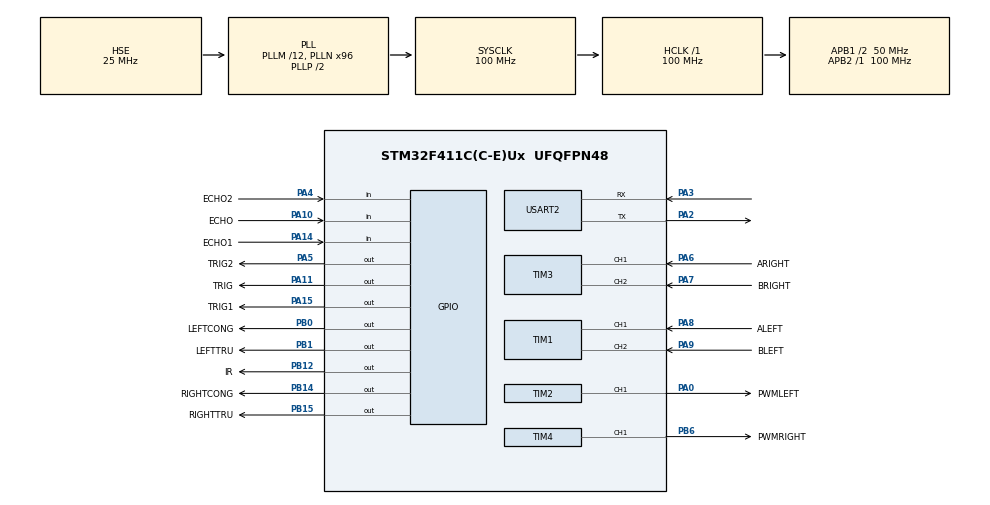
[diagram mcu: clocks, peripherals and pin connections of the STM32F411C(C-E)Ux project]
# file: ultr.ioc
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Dma.Request0=USART2_RX
Dma.USART2_RX.0.Direction=DMA_PERIPH_TO_MEMORY
Dma.USART2_RX.0.FIFOMode=DMA_FIFOMODE_DISABLE
Dma.USART2_RX.0.Instance=DMA1_Stream5
Dma.USART2_RX.0.MemDataAlignment=DMA_MDATAALIGN_BYTE
Dma.USART2_RX.0.MemInc=DMA_MINC_ENABLE
Dma.USART2_RX.0.Mode=DMA_NORMAL
Dma.USART2_RX.0.PeriphDataAlignment=DMA_PDATAALIGN_BYTE
Dma.USART2_RX.0.PeriphInc=DMA_PINC_DISABLE
Dma.USART2_RX.0.Priority=DMA_PRIORITY_LOW
Mcu.Family=STM32F4
Mcu.Name=STM32F411C(C-E)Ux
Mcu.Package=UFQFPN48
NVIC.DMA1_Stream5_IRQn=true\:0\:0\:false\:false\:true\:false\:true\:true
NVIC.PriorityGroup=NVIC_PRIORITYGROUP_4
NVIC.TIM5_IRQn=true\:0\:0\:false\:false\:true\:true\:true\:true
NVIC.USART2_IRQn=true\:0\:0\:false\:false\:true\:true\:true\:true
PA0-WKUP.GPIO_Label=PWMLEFT
PA0-WKUP.Signal=S_TIM2_CH1_ETR
PA10.GPIO_Label=ECHO
PA10.Signal=GPIO_Input
PA11.GPIO_Label=TRIG
PA11.Signal=GPIO_Output
PA14.GPIO_Label=ECHO1
PA14.Signal=GPIO_Input
PA15.GPIO_Label=TRIG1
PA15.Signal=GPIO_Output
PA2.Mode=Asynchronous
PA2.Signal=USART2_TX
PA3.Mode=Asynchronous
PA3.Signal=USART2_RX
PA4.GPIO_Label=ECHO2
PA4.Signal=GPIO_Input
PA5.GPIO_Label=TRIG2
PA5.Signal=GPIO_Output
PA6.GPIO_Label=ARIGHT
PA6.Signal=S_TIM3_CH1
PA7.GPIO_Label=BRIGHT
PA7.Signal=S_TIM3_CH2
PA8.GPIO_Label=ALEFT
PA8.Signal=S_TIM1_CH1
PA9.GPIO_Label=BLEFT
PA9.Signal=S_TIM1_CH2
PB0.GPIO_Label=LEFTCONG
PB0.Signal=GPIO_Output
PB1.GPIO_Label=LEFTTRU
PB1.Signal=GPIO_Output
PB12.GPIO_Label=IR
PB12.Signal=GPIO_Output
PB14.GPIO_Label=RIGHTCONG
PB14.Signal=GPIO_Output
PB15.GPIO_Label=RIGHTTRU
PB15.Signal=GPIO_Output
PB6.GPIO_Label=PWMRIGHT
PB6.Signal=S_TIM4_CH1
PH0\ -\ OSC_IN.Mode=HSE-External-Oscillator
PH0\ -\ OSC_IN.Signal=RCC_OSC_IN
PH1\ -\ OSC_OUT.Mode=HSE-External-Oscillator
PH1\ -\ OSC_OUT.Signal=RCC_OSC_OUT
ProjectManager.HeapSize=0x200
ProjectManager.StackSize=0x400
ProjectManager.TargetToolchain=STM32CubeIDE
RCC.48MHZClocksFreq_Value=50000000
RCC.AHBFreq_Value=100000000
RCC.APB1CLKDivider=RCC_HCLK_DIV2
RCC.APB1Freq_Value=50000000
RCC.APB1TimFreq_Value=100000000
RCC.APB2Freq_Value=100000000
RCC.APB2TimFreq_Value=100000000
RCC.CortexFreq_Value=100000000
RCC.HCLKFreq_Value=100000000
RCC.HSE_VALUE=25000000
RCC.HSI_VALUE=16000000
RCC.LSE_VALUE=32768
RCC.PLLM=12
RCC.PLLN=96
RCC.PLLSourceVirtual=RCC_PLLSOURCE_HSE
RCC.SYSCLKFreq_VALUE=100000000
RCC.SYSCLKSource=RCC_SYSCLKSOURCE_PLLCLK
RCC.VCOOutputFreq_Value=200000000
SH.S_TIM1_CH1.0=TIM1_CH1,Encoder_Interface
SH.S_TIM1_CH2.0=TIM1_CH2,Encoder_Interface
SH.S_TIM2_CH1_ETR.0=TIM2_CH1,PWM Generation1 CH1
SH.S_TIM3_CH1.0=TIM3_CH1,Encoder_Interface
SH.S_TIM3_CH2.0=TIM3_CH2,Encoder_Interface
SH.S_TIM4_CH1.0=TIM4_CH1,PWM Generation1 CH1
TIM1.EncoderMode=TIM_ENCODERMODE_TI12
TIM2.Channel-PWM\ Generation1\ CH1=TIM_CHANNEL_1
TIM2.Period=999
TIM2.Prescaler=2000-1
TIM3.EncoderMode=TIM_ENCODERMODE_TI12
TIM4.Channel-PWM\ Generation1\ CH1=TIM_CHANNEL_1
TIM4.Period=999
TIM4.Prescaler=2000-1
TIM5.Period=1000-1
TIM5.Prescaler=1000-1
TIM9.Period=0
TIM9.Prescaler=100-1
USART2.VirtualMode=VM_ASYNC
VP_TIM2_VS_ClockSourceINT.Mode=Internal
VP_TIM4_VS_ClockSourceINT.Mode=Internal
VP_TIM5_VS_ClockSourceINT.Mode=Internal
VP_TIM9_VS_ClockSourceINT.Mode=Internal
board=custom

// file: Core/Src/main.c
/* USER CODE BEGIN Header */
/**
  ******************************************************************************
  * @file           : main.c
  * @brief          : Main program body
  ******************************************************************************
  * @attention
  *
  * Copyright (c) 2022 STMicroelectronics.
  * All rights reserved.
  *
  * This software is licensed under terms that can be found in the LICENSE file
  * in the root directory of this software component.
  * If no LICENSE file comes with this software, it is provided AS-IS.
  *
  ******************************************************************************
  */
/* USER CODE END Header */
#include "main.h"

/* USER CODE BEGIN Includes */
#include <string.h>
#include <stdio.h>
#include "sr04.h"
#include <stdbool.h>
#include <stdint.h>
#include <string.h>
#include <stdlib.h>

/* USER CODE END Includes */

/* USER CODE BEGIN PTD */
#define usTIM	TIM5

/* USER CODE END PTD */

 TIM_HandleTypeDef htim1;
TIM_HandleTypeDef htim2;
TIM_HandleTypeDef htim3;
TIM_HandleTypeDef htim4;
TIM_HandleTypeDef htim5;
TIM_HandleTypeDef htim9;

UART_HandleTypeDef huart2;
DMA_HandleTypeDef hdma_usart2_rx;

void SystemClock_Config(void);
static void MX_GPIO_Init(void);
static void MX_TIM5_Init(void);
static void MX_DMA_Init(void);
static void MX_USART2_UART_Init(void);
static void MX_TIM1_Init(void);
static void MX_TIM2_Init(void);
static void MX_TIM3_Init(void);
static void MX_TIM4_Init(void);
static void MX_TIM9_Init(void);

/* USER CODE BEGIN 0 */
//Speed of sound in cm/usec
//Interrupt every 0,01 ms
int timer0_counter = 0;
int timer0_flag = 0;
int TIMER_CYCLE = 10;

void setTimer0(int duration)
{
	timer0_counter = duration / TIMER_CYCLE ;
	timer0_flag = 0;
}
void timer_run ()
{
	if( timer0_counter > 0)
	{
		timer0_counter --;
	}
	if( timer0_counter == 0) timer0_flag = 1;
}
//HCSR04
int retraiphai = 0;
float real_distance[HCSR04_UNITS];

char uartBuf[100];

int ir_sensor = 0;
//PID
#define REAL_TIME_SYSTEM    20
void SetTimer_ms(unsigned int ms);
unsigned int timer_value = 0;
unsigned int timer_cnt = 0;
int timer_MUL = 0;
unsigned char flag_timer = 0;
uint16_t head_distance = 0;
uint16_t left_distance = 0;
uint16_t right_distance = 0;
#define HEAD 0
#define RIGHT 1
#define LEFT 0

#define MTR_LEFT 0
#define MTR_RIGHT 1

int index_sr04 = 0;

//PID
long last = 0;
unsigned short encoder_xung[2] = {0, 0};
unsigned last_encoder_xung[2] = {0, 0};

unsigned short xung1s[2] = {0, 0};
unsigned short vong1s[2] = {0, 0};
unsigned short vong1p[2] = {0, 0};

unsigned short lastxung[2] = {0, 0};
unsigned short xung[2] = {0, 0};
long T = 100;
unsigned short tocdodat[2] = {100, 100};
unsigned short tocdothuc[2] = {0, 0};
//Roi rac
float Kp = 0.017;
float Kd = 0.08;
float Ki = 0;
long E[2] = {0, 0};
long E1[2] = {0, 0};
long E2[2] = {0, 0};
float alpha[2] = {0, 0};
float beta[2] = {0, 0};
float gama[2] = {0, 0};
unsigned short Output[2] = {0, 0};
unsigned short LastOutput[2] = {0, 0};
int StartSpeed[2] = {100, 0};
int delta = 0;

int PIDLienTuc(int Output, int tocdodat, int tocdothuc, int LoR);

//int PIDRoiRac(int tocdodat, int tocdothuc);
unsigned short i = 0;

long  error1[2] = {0, 0};
long last_error1[2] = {0, 0};

int counter = 0;
int stop = -1;

/* USER CODE END 0 */

int main(void)
{

  /* MCU Configuration--------------------------------------------------------*/

  /* Reset of all peripherals, Initializes the Flash interface and the Systick. */
  HAL_Init();

  /* Configure the system clock */
  SystemClock_Config();

  /* Initialize all configured peripherals */
  MX_GPIO_Init();
  MX_TIM5_Init();
  MX_DMA_Init();
  MX_USART2_UART_Init();
  MX_TIM1_Init();
  MX_TIM2_Init();
  MX_TIM3_Init();
  MX_TIM4_Init();
  MX_TIM9_Init();
  /* USER CODE BEGIN 2 */
  //Interrupt
  HAL_TIM_Base_Start_IT (& htim5 );

  //HCSR04

  //PID init
  HAL_TIM_Encoder_Start(&htim1, TIM_CHANNEL_1 | TIM_CHANNEL_2);
  	  HAL_TIM_PWM_Start(&htim2, TIM_CHANNEL_1); //start pwm
  	  htim2.Instance -> CCR1 = 100;
  	  HAL_GPIO_WritePin(GPIOB, GPIO_PIN_14, GPIO_PIN_SET);
  	  HAL_GPIO_WritePin(GPIOB, GPIO_PIN_15, GPIO_PIN_RESET);

  	  HAL_TIM_Encoder_Start(&htim3, TIM_CHANNEL_1 | TIM_CHANNEL_2);
  	    HAL_TIM_PWM_Start(&htim4, TIM_CHANNEL_1); //start pwm
  	    htim4.Instance -> CCR1 = 100;
  	    //  last = HAL_GetTick();
  	    HAL_GPIO_WritePin(GPIOB, GPIO_PIN_0, GPIO_PIN_RESET);
  	    HAL_GPIO_WritePin(GPIOB, GPIO_PIN_1, GPIO_PIN_SET);

  /* USER CODE END 2 */

  /* Infinite loop */
  while (1)
  {

    /* USER CODE BEGIN 3 */
	  //READ hcsr04
	  for(int i = 0; i < HCSR04_UNITS;i++)
	  {
		  real_distance[i] = GetDistance(i);
		  sprintf(uartBuf, "Distance (cm)  = %.1f\r\n", real_distance[i]);
		  HAL_UART_Transmit(&huart2, (uint8_t *)uartBuf, strlen(uartBuf), 100);
	  }
	  //READ IR
	  ir_sensor = HAL_GPIO_ReadPin(IR_GPIO_Port, IR_Pin);
//	  real_distance = GetDistance(0);
	  //PID
	  if(HAL_GetTick() - last >= T)
	  	  {
	  		  last = HAL_GetTick();
	  		  encoder_xung[MTR_LEFT] = __HAL_TIM_GET_COUNTER(&htim1);
	  		  encoder_xung[MTR_RIGHT] = __HAL_TIM_GET_COUNTER(&htim3);
	  		  delta = encoder_xung[MTR_RIGHT] - encoder_xung[MTR_LEFT];

	  		  tocdothuc[MTR_RIGHT] = ((encoder_xung[MTR_RIGHT]) * (60*(1000/T))) / (4 * 400);
	  		  tocdothuc[MTR_LEFT]  = ((encoder_xung[MTR_LEFT]) * (60*(1000/T))) / (4 * 400);

	  		  Output[MTR_RIGHT] = PIDLienTuc(Output[MTR_RIGHT], tocdodat[MTR_RIGHT], tocdothuc[MTR_RIGHT], MTR_RIGHT);
	  		  Output[MTR_LEFT]  = PIDLienTuc(Output[MTR_LEFT],  tocdodat[MTR_LEFT],  tocdothuc[MTR_LEFT], MTR_LEFT);
	  		  __HAL_TIM_SET_COUNTER(&htim1, 0 );
	  		  __HAL_TIM_SET_COUNTER(&htim3, 0 );
	  		  htim2.Instance->CCR1 = Output[MTR_LEFT];
	  		  htim4.Instance->CCR1 = Output[MTR_RIGHT];
	  ////
	  //		  //HienThi();
	  	  }

	  //5. Print to UART terminal for debugging
//	  sprintf(uartBuf, "Distance (cm)  = %.1f\r\n", real_distance[0]);
//	  HAL_UART_Transmit(&huart2, (uint8_t *)uartBuf, strlen(uartBuf), 100);

	  //Driving re trai pha tron bao nhieu s de ra thuat toan con ran ??
	  if( timer0_flag == 1 && retraiphai)
	  {

		  setTimer0 (1000) ;
	  }

  }
  /* USER CODE END 3 */
}

void SystemClock_Config(void)
{
  RCC_OscInitTypeDef RCC_OscInitStruct = {0};
  RCC_ClkInitTypeDef RCC_ClkInitStruct = {0};

  /** Configure the main internal regulator output voltage
  */
  __HAL_RCC_PWR_CLK_ENABLE();
  __HAL_PWR_VOLTAGESCALING_CONFIG(PWR_REGULATOR_VOLTAGE_SCALE1);

  /** Initializes the RCC Oscillators according to the specified parameters
  * in the RCC_OscInitTypeDef structure.
  */
  RCC_OscInitStruct.OscillatorType = RCC_OSCILLATORTYPE_HSE;
  RCC_OscInitStruct.HSEState = RCC_HSE_ON;
  RCC_OscInitStruct.PLL.PLLState = RCC_PLL_ON;
  RCC_OscInitStruct.PLL.PLLSource = RCC_PLLSOURCE_HSE;
  RCC_OscInitStruct.PLL.PLLM = 12;
  RCC_OscInitStruct.PLL.PLLN = 96;
  RCC_OscInitStruct.PLL.PLLP = RCC_PLLP_DIV2;
  RCC_OscInitStruct.PLL.PLLQ = 4;
  if (HAL_RCC_OscConfig(&RCC_OscInitStruct) != HAL_OK)
  {
    Error_Handler();
  }

  /** Initializes the CPU, AHB and APB buses clocks
  */
  RCC_ClkInitStruct.ClockType = RCC_CLOCKTYPE_HCLK|RCC_CLOCKTYPE_SYSCLK
                              |RCC_CLOCKTYPE_PCLK1|RCC_CLOCKTYPE_PCLK2;
  RCC_ClkInitStruct.SYSCLKSource = RCC_SYSCLKSOURCE_PLLCLK;
  RCC_ClkInitStruct.AHBCLKDivider = RCC_SYSCLK_DIV1;
  RCC_ClkInitStruct.APB1CLKDivider = RCC_HCLK_DIV2;
  RCC_ClkInitStruct.APB2CLKDivider = RCC_HCLK_DIV1;

  if (HAL_RCC_ClockConfig(&RCC_ClkInitStruct, FLASH_LATENCY_3) != HAL_OK)
  {
    Error_Handler();
  }
}

static void MX_TIM1_Init(void)
{

  TIM_Encoder_InitTypeDef sConfig = {0};
  TIM_MasterConfigTypeDef sMasterConfig = {0};

  htim1.Instance = TIM1;
  htim1.Init.Prescaler = 0;
  htim1.Init.CounterMode = TIM_COUNTERMODE_UP;
  htim1.Init.Period = 65535;
  htim1.Init.ClockDivision = TIM_CLOCKDIVISION_DIV1;
  htim1.Init.RepetitionCounter = 0;
  htim1.Init.AutoReloadPreload = TIM_AUTORELOAD_PRELOAD_DISABLE;
  sConfig.EncoderMode = TIM_ENCODERMODE_TI12;
  sConfig.IC1Polarity = TIM_ICPOLARITY_RISING;
  sConfig.IC1Selection = TIM_ICSELECTION_DIRECTTI;
  sConfig.IC1Prescaler = TIM_ICPSC_DIV1;
  sConfig.IC1Filter = 0;
  sConfig.IC2Polarity = TIM_ICPOLARITY_RISING;
  sConfig.IC2Selection = TIM_ICSELECTION_DIRECTTI;
  sConfig.IC2Prescaler = TIM_ICPSC_DIV1;
  sConfig.IC2Filter = 0;
  if (HAL_TIM_Encoder_Init(&htim1, &sConfig) != HAL_OK)
  {
    Error_Handler();
  }
  sMasterConfig.MasterOutputTrigger = TIM_TRGO_RESET;
  sMasterConfig.MasterSlaveMode = TIM_MASTERSLAVEMODE_DISABLE;
  if (HAL_TIMEx_MasterConfigSynchronization(&htim1, &sMasterConfig) != HAL_OK)
  {
    Error_Handler();
  }

}

static void MX_TIM2_Init(void)
{

  TIM_ClockConfigTypeDef sClockSourceConfig = {0};
  TIM_MasterConfigTypeDef sMasterConfig = {0};
  TIM_OC_InitTypeDef sConfigOC = {0};

  htim2.Instance = TIM2;
  htim2.Init.Prescaler = 2000-1;
  htim2.Init.CounterMode = TIM_COUNTERMODE_UP;
  htim2.Init.Period = 999;
  htim2.Init.ClockDivision = TIM_CLOCKDIVISION_DIV1;
  htim2.Init.AutoReloadPreload = TIM_AUTORELOAD_PRELOAD_DISABLE;
  if (HAL_TIM_Base_Init(&htim2) != HAL_OK)
  {
    Error_Handler();
  }
  sClockSourceConfig.ClockSource = TIM_CLOCKSOURCE_INTERNAL;
  if (HAL_TIM_ConfigClockSource(&htim2, &sClockSourceConfig) != HAL_OK)
  {
    Error_Handler();
  }
  if (HAL_TIM_PWM_Init(&htim2) != HAL_OK)
  {
    Error_Handler();
  }
  sMasterConfig.MasterOutputTrigger = TIM_TRGO_RESET;
  sMasterConfig.MasterSlaveMode = TIM_MASTERSLAVEMODE_DISABLE;
  if (HAL_TIMEx_MasterConfigSynchronization(&htim2, &sMasterConfig) != HAL_OK)
  {
    Error_Handler();
  }
  sConfigOC.OCMode = TIM_OCMODE_PWM1;
  sConfigOC.Pulse = 0;
  sConfigOC.OCPolarity = TIM_OCPOLARITY_HIGH;
  sConfigOC.OCFastMode = TIM_OCFAST_DISABLE;
  if (HAL_TIM_PWM_ConfigChannel(&htim2, &sConfigOC, TIM_CHANNEL_1) != HAL_OK)
  {
    Error_Handler();
  }
  HAL_TIM_MspPostInit(&htim2);

}

static void MX_TIM3_Init(void)
{

  TIM_Encoder_InitTypeDef sConfig = {0};
  TIM_MasterConfigTypeDef sMasterConfig = {0};

  htim3.Instance = TIM3;
  htim3.Init.Prescaler = 0;
  htim3.Init.CounterMode = TIM_COUNTERMODE_UP;
  htim3.Init.Period = 65535;
  htim3.Init.ClockDivision = TIM_CLOCKDIVISION_DIV1;
  htim3.Init.AutoReloadPreload = TIM_AUTORELOAD_PRELOAD_DISABLE;
  sConfig.EncoderMode = TIM_ENCODERMODE_TI12;
  sConfig.IC1Polarity = TIM_ICPOLARITY_RISING;
  sConfig.IC1Selection = TIM_ICSELECTION_DIRECTTI;
  sConfig.IC1Prescaler = TIM_ICPSC_DIV1;
  sConfig.IC1Filter = 0;
  sConfig.IC2Polarity = TIM_ICPOLARITY_RISING;
  sConfig.IC2Selection = TIM_ICSELECTION_DIRECTTI;
  sConfig.IC2Prescaler = TIM_ICPSC_DIV1;
  sConfig.IC2Filter = 0;
  if (HAL_TIM_Encoder_Init(&htim3, &sConfig) != HAL_OK)
  {
    Error_Handler();
  }
  sMasterConfig.MasterOutputTrigger = TIM_TRGO_RESET;
  sMasterConfig.MasterSlaveMode = TIM_MASTERSLAVEMODE_DISABLE;
  if (HAL_TIMEx_MasterConfigSynchronization(&htim3, &sMasterConfig) != HAL_OK)
  {
    Error_Handler();
  }

}

static void MX_TIM4_Init(void)
{

  TIM_ClockConfigTypeDef sClockSourceConfig = {0};
  TIM_MasterConfigTypeDef sMasterConfig = {0};
  TIM_OC_InitTypeDef sConfigOC = {0};

  htim4.Instance = TIM4;
  htim4.Init.Prescaler = 2000-1;
  htim4.Init.CounterMode = TIM_COUNTERMODE_UP;
  htim4.Init.Period = 999;
  htim4.Init.ClockDivision = TIM_CLOCKDIVISION_DIV1;
  htim4.Init.AutoReloadPreload = TIM_AUTORELOAD_PRELOAD_DISABLE;
  if (HAL_TIM_Base_Init(&htim4) != HAL_OK)
  {
    Error_Handler();
  }
  sClockSourceConfig.ClockSource = TIM_CLOCKSOURCE_INTERNAL;
  if (HAL_TIM_ConfigClockSource(&htim4, &sClockSourceConfig) != HAL_OK)
  {
    Error_Handler();
  }
  if (HAL_TIM_PWM_Init(&htim4) != HAL_OK)
  {
    Error_Handler();
  }
  sMasterConfig.MasterOutputTrigger = TIM_TRGO_RESET;
  sMasterConfig.MasterSlaveMode = TIM_MASTERSLAVEMODE_DISABLE;
  if (HAL_TIMEx_MasterConfigSynchronization(&htim4, &sMasterConfig) != HAL_OK)
  {
    Error_Handler();
  }
  sConfigOC.OCMode = TIM_OCMODE_PWM1;
  sConfigOC.Pulse = 0;
  sConfigOC.OCPolarity = TIM_OCPOLARITY_HIGH;
  sConfigOC.OCFastMode = TIM_OCFAST_DISABLE;
  if (HAL_TIM_PWM_ConfigChannel(&htim4, &sConfigOC, TIM_CHANNEL_1) != HAL_OK)
  {
    Error_Handler();
  }
  HAL_TIM_MspPostInit(&htim4);

}

static void MX_TIM5_Init(void)
{

  TIM_ClockConfigTypeDef sClockSourceConfig = {0};
  TIM_MasterConfigTypeDef sMasterConfig = {0};

  htim5.Instance = TIM5;
  htim5.Init.Prescaler = 1000-1;
  htim5.Init.CounterMode = TIM_COUNTERMODE_UP;
  htim5.Init.Period = 1000-1;
  htim5.Init.ClockDivision = TIM_CLOCKDIVISION_DIV1;
  htim5.Init.AutoReloadPreload = TIM_AUTORELOAD_PRELOAD_DISABLE;
  if (HAL_TIM_Base_Init(&htim5) != HAL_OK)
  {
    Error_Handler();
  }
  sClockSourceConfig.ClockSource = TIM_CLOCKSOURCE_INTERNAL;
  if (HAL_TIM_ConfigClockSource(&htim5, &sClockSourceConfig) != HAL_OK)
  {
    Error_Handler();
  }
  sMasterConfig.MasterOutputTrigger = TIM_TRGO_RESET;
  sMasterConfig.MasterSlaveMode = TIM_MASTERSLAVEMODE_DISABLE;
  if (HAL_TIMEx_MasterConfigSynchronization(&htim5, &sMasterConfig) != HAL_OK)
  {
    Error_Handler();
  }

}

static void MX_TIM9_Init(void)
{

  TIM_ClockConfigTypeDef sClockSourceConfig = {0};

  htim9.Instance = TIM9;
  htim9.Init.Prescaler = 100-1;
  htim9.Init.CounterMode = TIM_COUNTERMODE_UP;
  htim9.Init.Period = 0;
  htim9.Init.ClockDivision = TIM_CLOCKDIVISION_DIV1;
  htim9.Init.AutoReloadPreload = TIM_AUTORELOAD_PRELOAD_DISABLE;
  if (HAL_TIM_Base_Init(&htim9) != HAL_OK)
  {
    Error_Handler();
  }
  sClockSourceConfig.ClockSource = TIM_CLOCKSOURCE_INTERNAL;
  if (HAL_TIM_ConfigClockSource(&htim9, &sClockSourceConfig) != HAL_OK)
  {
    Error_Handler();
  }

}

static void MX_USART2_UART_Init(void)
{

  huart2.Instance = USART2;
  huart2.Init.BaudRate = 115200;
  huart2.Init.WordLength = UART_WORDLENGTH_8B;
  huart2.Init.StopBits = UART_STOPBITS_1;
  huart2.Init.Parity = UART_PARITY_NONE;
  huart2.Init.Mode = UART_MODE_TX_RX;
  huart2.Init.HwFlowCtl = UART_HWCONTROL_NONE;
  huart2.Init.OverSampling = UART_OVERSAMPLING_16;
  if (HAL_UART_Init(&huart2) != HAL_OK)
  {
    Error_Handler();
  }

}

static void MX_DMA_Init(void)
{

  /* DMA controller clock enable */
  __HAL_RCC_DMA1_CLK_ENABLE();

  /* DMA interrupt init */
  /* DMA1_Stream5_IRQn interrupt configuration */
  HAL_NVIC_SetPriority(DMA1_Stream5_IRQn, 0, 0);
  HAL_NVIC_EnableIRQ(DMA1_Stream5_IRQn);

}

static void MX_GPIO_Init(void)
{
  GPIO_InitTypeDef GPIO_InitStruct = {0};

  /* GPIO Ports Clock Enable */
  __HAL_RCC_GPIOH_CLK_ENABLE();
  __HAL_RCC_GPIOA_CLK_ENABLE();
  __HAL_RCC_GPIOB_CLK_ENABLE();

  /*Configure GPIO pin Output Level */
  HAL_GPIO_WritePin(GPIOA, TRIG2_Pin|TRIG_Pin|TRIG1_Pin, GPIO_PIN_RESET);

  /*Configure GPIO pin Output Level */
  HAL_GPIO_WritePin(GPIOB, LEFTCONG_Pin|LEFTTRU_Pin|IR_Pin|RIGHTCONG_Pin
                          |RIGHTTRU_Pin, GPIO_PIN_RESET);

  /*Configure GPIO pins : ECHO2_Pin ECHO_Pin ECHO1_Pin */
  GPIO_InitStruct.Pin = ECHO2_Pin|ECHO_Pin|ECHO1_Pin;
  GPIO_InitStruct.Mode = GPIO_MODE_INPUT;
  GPIO_InitStruct.Pull = GPIO_NOPULL;
  HAL_GPIO_Init(GPIOA, &GPIO_InitStruct);

  /*Configure GPIO pins : TRIG2_Pin TRIG_Pin TRIG1_Pin */
  GPIO_InitStruct.Pin = TRIG2_Pin|TRIG_Pin|TRIG1_Pin;
  GPIO_InitStruct.Mode = GPIO_MODE_OUTPUT_PP;
  GPIO_InitStruct.Pull = GPIO_NOPULL;
  GPIO_InitStruct.Speed = GPIO_SPEED_FREQ_LOW;
  HAL_GPIO_Init(GPIOA, &GPIO_InitStruct);

  /*Configure GPIO pins : LEFTCONG_Pin LEFTTRU_Pin IR_Pin RIGHTCONG_Pin
                           RIGHTTRU_Pin */
  GPIO_InitStruct.Pin = LEFTCONG_Pin|LEFTTRU_Pin|IR_Pin|RIGHTCONG_Pin
                          |RIGHTTRU_Pin;
  GPIO_InitStruct.Mode = GPIO_MODE_OUTPUT_PP;
  GPIO_InitStruct.Pull = GPIO_NOPULL;
  GPIO_InitStruct.Speed = GPIO_SPEED_FREQ_LOW;
  HAL_GPIO_Init(GPIOB, &GPIO_InitStruct);

}

/* USER CODE BEGIN 4 */
//void usDelay(uint32_t uSec)
//{
//	if(uSec < 2) uSec = 2;
//	usTIM->ARR = uSec - 1; 	/*sets the value in the auto-reload register*/
//	usTIM->EGR = 1; 			/*Re-initialises the timer*/
//	usTIM->SR &= ~1; 		//Resets the flag
//	usTIM->CR1 |= 1; 		//Enables the counter
//	while((usTIM->SR&0x0001) != 1);
//	usTIM->SR &= ~(0x0001);
//}

int PIDLienTuc(int Output, int tocdodat, int tocdothuc, int MOTOR){
	float outpid = 0;
	error1[MOTOR] = abs(tocdodat) - abs(tocdothuc);
	outpid = (Kp * error1[MOTOR]) + (Kd * (error1[MOTOR] - last_error1[MOTOR]));
	last_error1[MOTOR] = error1[MOTOR];
	if(Output + outpid >= 999)
	{
		Output = 999;
	}
	else if(Output + outpid <0)
	{
		Output = 0;
	}
	else
	{
		Output = Output + outpid;
	}
	return Output;
}

void HAL_TIM_PeriodElapsedCallback ( TIM_HandleTypeDef * htim )
{
	timer_run ();
}
/* USER CODE END 4 */

void Error_Handler(void)
{
  __disable_irq();
  while (1)
  {
  }
}
